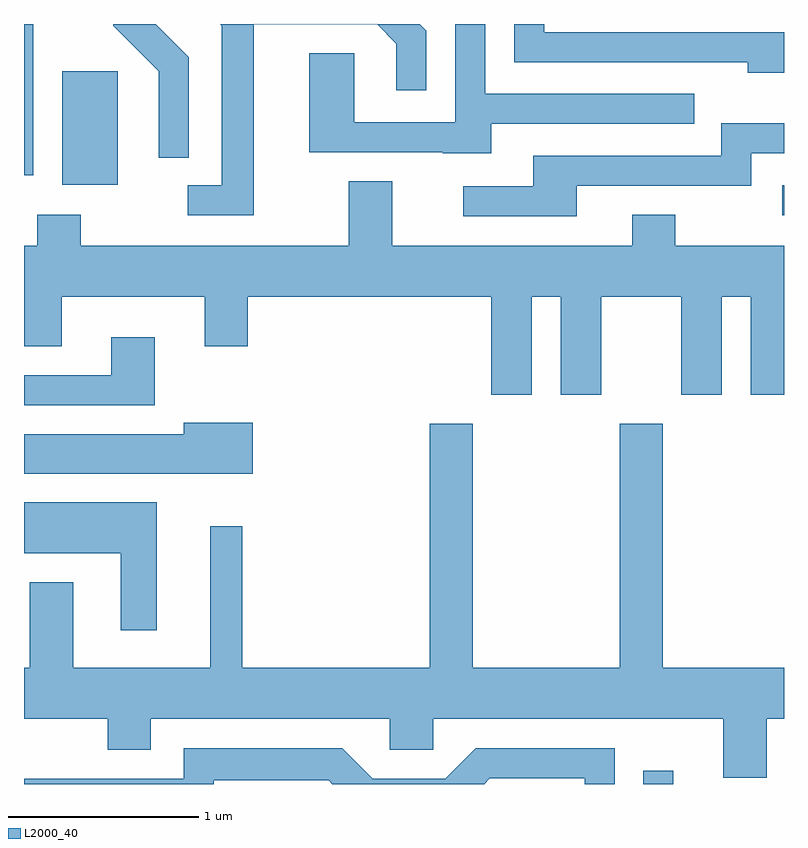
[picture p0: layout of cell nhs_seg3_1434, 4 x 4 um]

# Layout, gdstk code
import gdstk
lib = gdstk.Library(unit=1e-6, precision=1e-09)
def R(c, l, rs):  # rectangles x0, y0, x1, y1
    for r in rs: c.add(gdstk.rectangle(r[:2], r[2:], *l))
def P(c, l, *ps):  # polygons
    for p in ps: c.add(gdstk.Polygon(p, *l))
L2000_40 = (2000, 40)

nhs_seg3_1434 = lib.new_cell('nhs_seg3_1434')
R(nhs_seg3_1434, L2000_40, [(230.871,1127.892,231.029,1127.963), (231.603,1130.886,231.611,1131.044), (227.811,1131.046,228.104,1131.644), (227.611,1131.096,227.659,1131.892)])
P(nhs_seg3_1434, L2000_40, [(231.611,1131.849),(230.349,1131.849),(230.349,1131.892),(230.191,1131.892),(230.191,1131.691),(231.421,1131.691),(231.421,1131.636),(231.611,1131.636)],
  [(228.819,1131.891),(229.469,1131.891),(229.571,1131.789),(229.571,1131.543),(229.729,1131.543),(229.729,1131.857),(229.694,1131.892),(228.643,1131.892),(228.651,1131.884),(228.651,1131.044),(228.473,1131.044),(228.473,1130.886),(228.819,1130.886)],
  [(230.069,1131.366),(231.138,1131.366),(231.138,1131.524),(230.039,1131.524),(230.039,1131.892),(229.881,1131.892),(229.881,1131.374),(229.349,1131.374),(229.349,1131.739),(229.111,1131.739),(229.111,1131.216),(229.815,1131.216),(229.815,1131.211),(230.069,1131.211)],
  [(228.479,1131.717),(228.304,1131.892),(228.081,1131.892),(228.081,1131.884),(228.321,1131.644),(228.321,1131.188),(228.479,1131.188)],
  [(230.519,1131.041),(231.439,1131.041),(231.439,1131.211),(231.611,1131.211),(231.611,1131.369),(231.281,1131.369),(231.281,1131.199),(230.291,1131.199),(230.291,1131.039),(229.923,1131.039),(229.923,1130.881),(230.519,1130.881)],
  [(227.909,1130.889),(227.681,1130.889),(227.681,1130.724),(227.611,1130.724),(227.611,1130.196),(227.809,1130.196),(227.809,1130.456),(228.561,1130.456),(228.561,1130.196),(228.789,1130.196),(228.789,1130.456),(230.071,1130.456),(230.071,1129.941),(230.284,1129.941),(230.284,1130.456),(230.436,1130.456),(230.436,1129.941),(230.649,1129.941),(230.649,1130.456),(231.071,1130.456),(231.071,1129.941),(231.284,1129.941),(231.284,1130.456),(231.436,1130.456),(231.436,1129.941),(231.611,1129.941),(231.611,1130.724),(231.039,1130.724),(231.039,1130.889),(230.811,1130.889),(230.811,1130.724),(229.549,1130.724),(229.549,1131.064),(229.321,1131.064),(229.321,1130.724),(227.909,1130.724)],
  [(228.299,1130.244),(228.071,1130.244),(228.071,1130.044),(227.611,1130.044),(227.611,1129.886),(228.299,1129.886)],
  [(228.814,1129.794),(228.451,1129.794),(228.451,1129.734),(227.611,1129.734),(227.611,1129.526),(228.814,1129.526)],
  [(228.759,1129.248),(228.591,1129.248),(228.591,1128.504),(227.869,1128.504),(227.869,1128.954),(227.641,1128.954),(227.641,1128.504),(227.611,1128.504),(227.611,1128.236),(228.051,1128.236),(228.051,1128.071),(228.279,1128.071),(228.279,1128.236),(229.536,1128.236),(229.536,1128.071),(229.764,1128.071),(229.764,1128.236),(231.291,1128.236),(231.291,1127.926),(231.519,1127.926),(231.519,1128.236),(231.611,1128.236),(231.611,1128.504),(230.974,1128.504),(230.974,1129.789),(230.746,1129.789),(230.746,1128.504),(229.974,1128.504),(229.974,1129.789),(229.746,1129.789),(229.746,1128.504),(228.759,1128.504)],
  [(228.309,1129.374),(227.611,1129.374),(227.611,1129.106),(228.121,1129.106),(228.121,1128.701),(228.309,1128.701)],
  [(228.609,1127.911),(229.214,1127.911),(229.233,1127.892),(230.033,1127.892),(230.062,1127.921),(230.561,1127.921),(230.561,1127.892),(230.719,1127.892),(230.719,1128.079),(229.989,1128.079),(229.829,1127.919),(229.447,1127.919),(229.287,1128.079),(228.451,1128.079),(228.451,1127.919),(227.611,1127.919),(227.611,1127.892),(228.609,1127.892)])

lib.write_gds('nhs_seg3_1434.gds')
